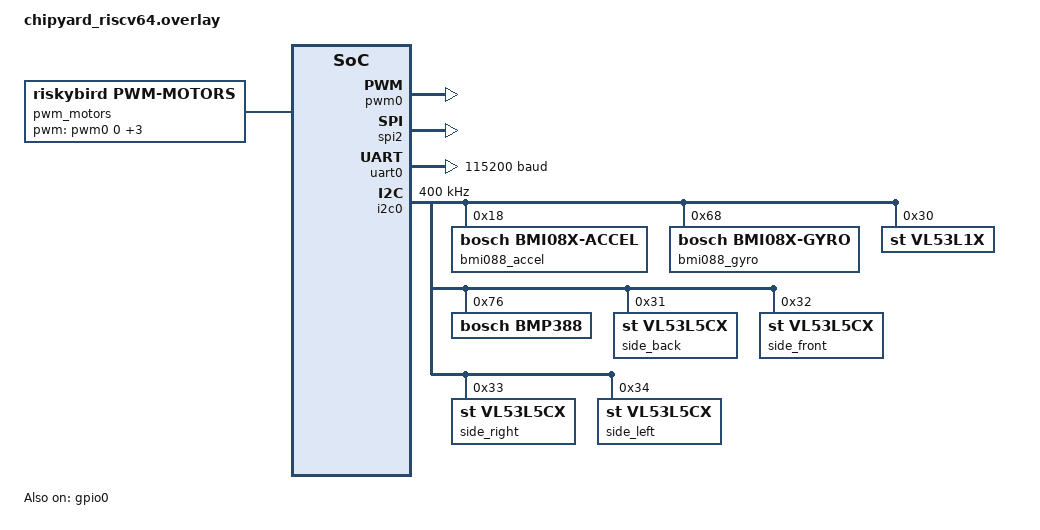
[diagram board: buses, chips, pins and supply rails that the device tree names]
/*
 * riskybird v3 flight controller on the FPGA Rocket (chipyard_riscv64), DroneFullDDR shell.
 *
 * Binds the REAL board sensors to the FPGA's own peripherals: BMI088 IMU / VL53L1X down-ToF /
 * BMP388 baro / 4x VL53L5CX side-ToF on i2c@10040000, PMW3901 optical flow on spi@10031000
 * (labeled spi2, with gpio@10010000 = gpio0 for the software chip-select, matching flow.c), and
 * 4 motor PWM channels on pwm@10050000 (motors are INHIBITED in this bring-up build).
 *
 * Peripheral addresses + PLIC IRQs are from the generated DTS of RocketArty200TDroneFullDDRConfig
 * (i2c=1, pwm0=2-5, uart0=10, uart1=11, gpio=12-14, spi=15, ospi=16). The base SoC dtsi defaults
 * console to HTIF; we move it to the SiFive uart0 (-> /dev/ttyUSB1) and point sram at the 1 GiB DDR.
 */
#include <zephyr/dt-bindings/gpio/gpio.h>

/ {
	chosen {
		zephyr,console = &uart0;
		zephyr,shell-uart = &uart0;
		zephyr,sram = &ram0;
	};

	aliases {
		bmi088-accel = &bmi088_accel;
		bmi088-gyro  = &bmi088_gyro;
		tof   = &vl53l1x;
		baro  = &bmp388;
		motors = &pwm_motors;
		side-back  = &side_back;
		side-front = &side_front;
		side-right = &side_right;
		side-left  = &side_left;
	};

	gpio0: gpio@10010000 {
		compatible = "sifive,gpio0";
		reg = <0x10010000 0x1000>;
		interrupt-parent = <&plic>;
		interrupts = <12 1>, <13 1>, <14 1>;
		gpio-controller;
		#gpio-cells = <2>;
		status = "okay";
	};

	pwm0: pwm@10050000 {
		compatible = "sifive,pwm0";
		reg = <0x10050000 0x1000>;
		interrupt-parent = <&plic>;
		interrupts = <2 1>, <3 1>, <4 1>, <5 1>;
		sifive,compare-width = <16>;
		#pwm-cells = <2>;
		status = "okay";
	};

	/* PMW3901 optical-flow SPI. flow.c uses DT_NODELABEL(spi2) + gpio0 (software CS). */
	spi2: spi@10031000 {
		compatible = "sifive,spi0";
		reg = <0x10031000 0x1000>;
		reg-names = "control";
		interrupt-parent = <&plic>;
		interrupts = <15 1>;
		#address-cells = <1>;
		#size-cells = <0>;
		status = "okay";
	};

	/* 4 brushed-motor PWM outputs (thrust ~ duty). INHIBITED in this build (ROSE_MOTORS_INHIBIT=1). */
	pwm_motors: pwm_motors {
		compatible = "riskybird,pwm-motors";
		pwms = <&pwm0 0 50000>, <&pwm0 1 50000>, <&pwm0 2 50000>, <&pwm0 3 50000>;
	};
};

&{/cpus/cpu@0} { clock-frequency = <50000000>; };
&{/cpus/cpu@1} { status = "disabled"; };
&{/cpus/cpu@2} { status = "disabled"; };
&{/cpus/cpu@3} { status = "disabled"; };
&{/cpus/cpu@4} { status = "disabled"; };
&{/cpus/cpu@5} { status = "disabled"; };
&{/cpus/cpu@6} { status = "disabled"; };
&{/cpus/cpu@7} { status = "disabled"; };

&plic { riscv,max-priority = <7>; riscv,ndev = <20>; };

&ram0 { reg = <0x80000000 0x40000000>; status = "okay"; };

&uart0 { status = "okay"; current-speed = <115200>; interrupts = <10 1>; };

&htif  { status = "disabled"; };
&flash0 { status = "disabled"; };
&spad0 { status = "disabled"; };

&i2c0 {
	status = "okay";
	clock-frequency = <400000>;   /* fast-mode: shortens the BMI088 IMU read (loop bottleneck) */
	interrupts = <1 1>;
	#address-cells = <1>;
	#size-cells = <0>;

	bmi088_accel: accelerometer@18 {
		compatible = "bosch,bmi08x-accel";
		reg = <0x18>;
		accel-hz = "800";
		accel-fs = <6>;
		status = "okay";
	};
	bmi088_gyro: gyroscope@68 {
		compatible = "bosch,bmi08x-gyro";
		reg = <0x68>;
		gyro-hz = "1000_116";
		gyro-fs = <1000>;
		status = "okay";
	};

	/* down-ToF: powers up at 0x29; main.cpp readdresses it to 0x30 at boot (ADS7128 GPIO6 XSHUT). */
	vl53l1x: vl53l1x@30 {
		compatible = "st,vl53l1x";
		reg = <0x30>;
		status = "okay";
	};

	bmp388: bmp388@76 {
		compatible = "bosch,bmp388";
		reg = <0x76>;
		odr = "50";
		osr-press = <8>;
		osr-temp = <1>;
		iir-filter = <3>;
		status = "okay";
	};

	/* 4 side VL53L5CX (bumper). Default 0x29; side_tof.c enables+readdresses to 0x31-0x34 at runtime. */
	side_back:  vl53l5cx@31 { compatible = "st,vl53l5cx"; reg = <0x31>; };
	side_front: vl53l5cx@32 { compatible = "st,vl53l5cx"; reg = <0x32>; };
	side_right: vl53l5cx@33 { compatible = "st,vl53l5cx"; reg = <0x33>; };
	side_left:  vl53l5cx@34 { compatible = "st,vl53l5cx"; reg = <0x34>; };
};
